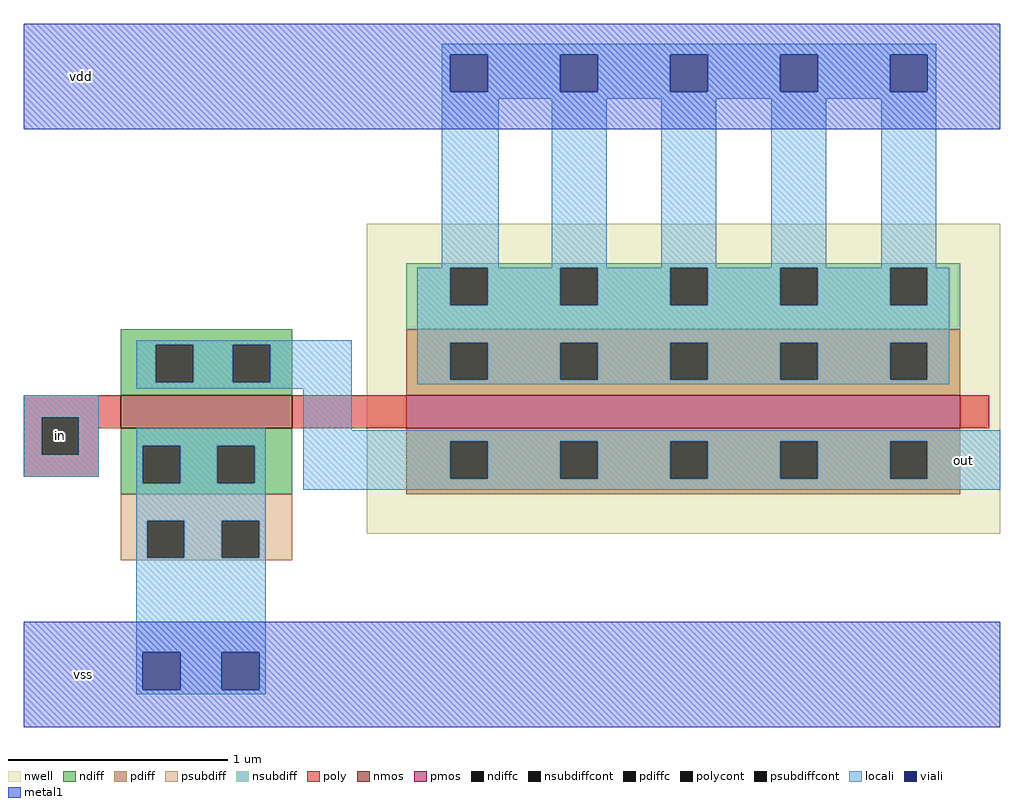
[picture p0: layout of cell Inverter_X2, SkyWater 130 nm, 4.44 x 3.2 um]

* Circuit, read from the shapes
.subckt Inverter_X2 in vdd vss out
XM1 out in vss vss sky130_fd_pr__nfet_01v8 w=0.78 l=0.15
XM2 vdd in out vdd sky130_fd_pr__pfet_01v8 w=2.52 l=0.15
.ends

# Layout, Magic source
magic
tech sky130A
<< nwell >>
rect 112 1 400 142
<< nmos >>
rect 0 49 78 64
<< pmos >>
rect 130 49 382 64
<< ndiff >>
rect 0 87 78 94
rect 0 70 16 87
rect 33 70 51 87
rect 68 70 78 87
rect 0 64 78 70
rect 0 41 78 49
rect 0 24 10 41
rect 27 24 44 41
rect 61 24 78 41
rect 0 19 78 24
<< pdiff >>
rect 130 88 382 94
rect 130 71 150 88
rect 167 71 200 88
rect 217 71 250 88
rect 267 71 300 88
rect 317 71 350 88
rect 367 71 382 88
rect 130 64 382 71
rect 130 43 382 49
rect 130 26 150 43
rect 167 26 200 43
rect 217 26 250 43
rect 267 26 300 43
rect 317 26 350 43
rect 367 26 382 43
rect 130 19 382 26
<< ndiffc >>
rect 16 70 33 87
rect 51 70 68 87
rect 10 24 27 41
rect 44 24 61 41
<< pdiffc >>
rect 150 71 167 88
rect 200 71 217 88
rect 250 71 267 88
rect 300 71 317 88
rect 350 71 367 88
rect 150 26 167 43
rect 200 26 217 43
rect 250 26 267 43
rect 300 26 317 43
rect 350 26 367 43
<< psubdiff >>
rect 0 7 78 19
rect 0 -10 12 7
rect 29 -10 46 7
rect 63 -10 78 7
rect 0 -11 78 -10
<< nsubdiff >>
rect 130 122 382 124
rect 130 105 150 122
rect 167 105 200 122
rect 217 105 250 122
rect 267 105 300 122
rect 317 105 350 122
rect 367 105 382 122
rect 130 94 382 105
<< psubdiffcont >>
rect 12 -10 29 7
rect 46 -10 63 7
<< nsubdiffcont >>
rect 150 105 167 122
rect 200 105 217 122
rect 250 105 267 122
rect 300 105 317 122
rect 350 105 367 122
<< poly >>
rect -44 54 0 64
rect -44 37 -36 54
rect -19 49 0 54
rect 78 49 130 64
rect 382 49 395 64
rect -19 37 -10 49
rect -44 27 -10 37
<< polycont >>
rect -36 37 -19 54
<< locali >>
rect 146 219 371 224
rect 146 202 150 219
rect 167 202 200 219
rect 217 202 250 219
rect 267 202 300 219
rect 317 202 350 219
rect 367 202 371 219
rect 146 199 371 202
rect 146 122 172 199
rect 196 122 221 199
rect 246 122 271 199
rect 296 122 321 199
rect 346 122 371 199
rect 135 105 150 122
rect 167 105 200 122
rect 217 105 250 122
rect 267 105 300 122
rect 317 105 350 122
rect 367 105 377 122
rect 7 87 105 89
rect 7 70 16 87
rect 33 70 51 87
rect 68 70 105 87
rect 7 67 105 70
rect 135 88 377 105
rect 135 71 150 88
rect 167 71 200 88
rect 217 71 250 88
rect 267 71 300 88
rect 317 71 350 88
rect 367 71 377 88
rect 135 69 377 71
rect -44 54 -10 64
rect -44 37 -36 54
rect -19 37 -10 54
rect -44 27 -10 37
rect 7 41 66 49
rect 7 24 10 41
rect 27 24 44 41
rect 61 24 66 41
rect 7 7 66 24
rect 83 48 105 67
rect 83 43 400 48
rect 83 26 150 43
rect 167 26 200 43
rect 217 26 250 43
rect 267 26 300 43
rect 317 26 350 43
rect 367 26 400 43
rect 83 21 400 26
rect 7 -10 12 7
rect 29 -10 46 7
rect 63 -10 66 7
rect 7 -53 66 -10
rect 7 -70 10 -53
rect 27 -70 46 -53
rect 63 -70 66 -53
rect 7 -72 66 -70
<< viali >>
rect 150 202 167 219
rect 200 202 217 219
rect 250 202 267 219
rect 300 202 317 219
rect 350 202 367 219
rect 10 -70 27 -53
rect 46 -70 63 -53
<< metal1 >>
rect -44 219 400 233
rect -44 202 150 219
rect 167 202 200 219
rect 217 202 250 219
rect 267 202 300 219
rect 317 202 350 219
rect 367 202 400 219
rect -44 185 400 202
rect -44 -53 400 -39
rect -44 -70 10 -53
rect 27 -70 46 -53
rect 63 -70 400 -53
rect -44 -87 400 -70
<< labels >>
flabel polycont -36 37 -19 54 1 FreeSans 120 0 0 0 in
port 1 n
flabel metal1 -44 185 8 233 7 FreeSans 120 0 0 0 vdd
port 2 w
flabel locali 367 21 400 48 3 FreeSans 120 0 0 0 out
port 4 e
flabel metal1 -44 -87 10 -39 7 FreeSans 120 0 0 0 vss
port 3 w
<< end >>
